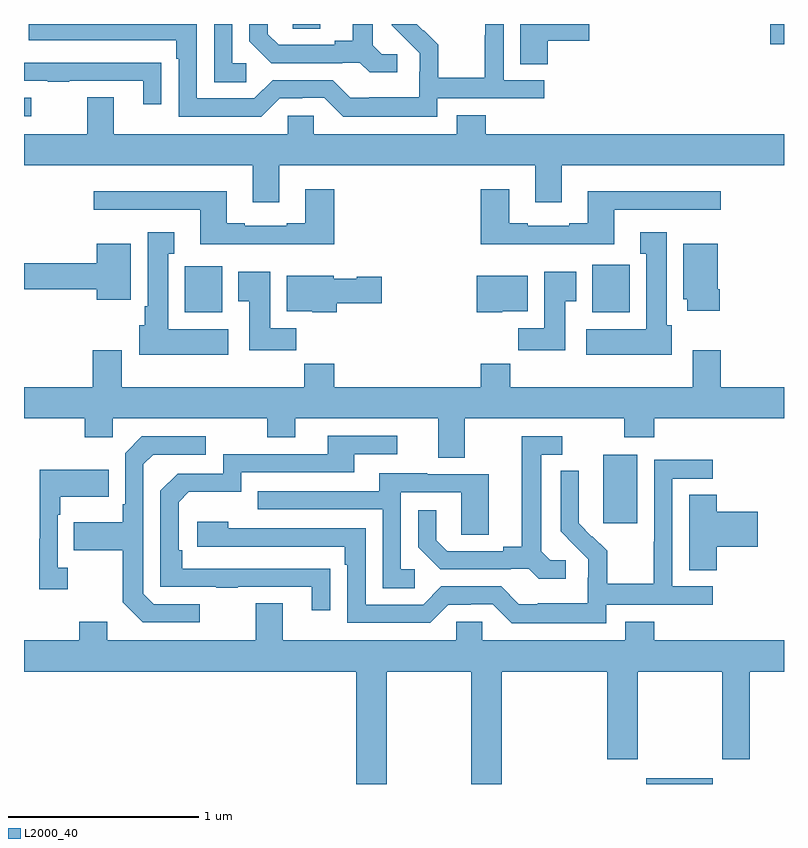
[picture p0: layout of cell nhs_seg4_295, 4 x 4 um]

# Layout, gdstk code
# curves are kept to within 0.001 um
import gdstk
lib = gdstk.Library(unit=1e-6, precision=1e-09)
def R(c, l, rs):  # rectangles x0, y0, x1, y1
    for r in rs: c.add(gdstk.rectangle(r[:2], r[2:], *l))
def P(c, l, *ps):  # polygons
    for p in ps: c.add(gdstk.Polygon(p, *l))
L2000_40 = (2000, 40)

nhs_seg4_295 = lib.new_cell('nhs_seg4_295')
R(nhs_seg4_295, L2000_40, [(128.276,790.9,128.626,790.93), (128.048,792.273,128.227,792.634), (125.846,793.382,126.043,793.624), (127.991,793.382,128.187,793.633), (125,794.415,125.038,794.511), (128.928,794.794,129,794.9), (126.414,794.875,126.559,794.9)])
P(nhs_seg4_295, L2000_40, [(127.176,794.508),(127.738,794.508),(127.738,794.604),(127.524,794.604),(127.524,794.9),(127.428,794.9),(127.428,794.84),(127.426,794.84),(127.426,794.617),(127.181,794.617),(127.181,794.791),(127.104,794.868),(127.101,794.865),(127.066,794.9),(126.936,794.9),(126.936,794.894),(127.082,794.746),(127.082,794.649),(127.08,794.649),(127.08,794.515),(126.817,794.515),(126.817,794.511),(126.717,794.511),(126.624,794.604),(126.309,794.604),(126.213,794.508),(125.91,794.508),(125.91,794.9),(125.025,794.9),(125.025,794.814),(125.801,794.814),(125.801,794.717),(125.814,794.717),(125.814,794.412),(126.249,794.412),(126.345,794.508),(126.464,794.508),(126.464,794.511),(126.579,794.511),(126.679,794.411),(127.176,794.411)],
  [(127.757,794.813),(127.975,794.813),(127.975,794.9),(127.613,794.9),(127.613,794.689),(127.757,794.689)],
  [(126.964,794.742),(126.882,794.742),(126.835,794.789),(126.835,794.9),(126.731,794.9),(126.731,794.813),(126.635,794.813),(126.635,794.79),(126.34,794.79),(126.283,794.847),(126.283,794.9),(126.186,794.9),(126.186,794.81),(126.302,794.694),(126.674,794.694),(126.674,794.697),(126.768,794.697),(126.82,794.645),(126.964,794.645)],
  [(126.169,794.694),(126.096,794.694),(126.096,794.9),(126,794.9),(126,794.593),(126.169,794.593)],
  [(125.723,794.696),(125.621,794.696),(125.621,794.697),(125,794.697),(125,794.601),(125.125,794.601),(125.125,794.596),(125.237,794.596),(125.237,794.601),(125.627,794.601),(125.627,794.478),(125.723,794.478)],
  [(126.343,794.156),(127.691,794.156),(127.691,793.962),(127.831,793.962),(127.831,794.156),(129,794.156),(129,794.32),(127.43,794.32),(127.43,794.419),(127.277,794.419),(127.277,794.32),(126.525,794.32),(126.525,794.418),(126.387,794.418),(126.387,794.32),(125.473,794.32),(125.473,794.515),(125.333,794.515),(125.333,794.32),(125,794.32),(125,794.156),(126.203,794.156),(126.203,793.962),(126.343,793.962)],
  [(128.107,793.923),(128.668,793.923),(128.668,794.02),(127.967,794.02),(127.967,793.852),(127.871,793.852),(127.871,793.839),(127.651,793.839),(127.651,793.852),(127.555,793.852),(127.555,794.029),(127.403,794.029),(127.403,793.742),(128.107,793.742)],
  [(126.632,794.029),(126.479,794.029),(126.479,793.852),(126.383,793.852),(126.383,793.839),(126.163,793.839),(126.163,793.852),(126.067,793.852),(126.067,794.02),(125.367,794.02),(125.367,793.923),(125.927,793.923),(125.927,793.742),(126.632,793.742)],
  [(128.41,793.314),(128.383,793.314),(128.383,793.804),(128.243,793.804),(128.243,793.691),(128.276,793.691),(128.276,793.294),(127.959,793.294),(127.959,793.16),(128.41,793.16)],
  [(126.076,793.294),(125.758,793.294),(125.758,793.691),(125.791,793.691),(125.791,793.804),(125.651,793.804),(125.651,793.414),(125.636,793.414),(125.636,793.314),(125.606,793.314),(125.606,793.16),(126.076,793.16)],
  [(125.563,793.744),(125.384,793.744),(125.384,793.64),(125,793.64),(125,793.504),(125.384,793.504),(125.384,793.448),(125.563,793.448)],
  [(128.663,793.504),(128.65,793.504),(128.65,793.744),(128.471,793.744),(128.471,793.452),(128.492,793.452),(128.492,793.392),(128.663,793.392)],
  [(127.849,793.441),(127.906,793.441),(127.906,793.597),(127.739,793.597),(127.739,793.3),(127.6,793.3),(127.6,793.182),(127.849,793.182)],
  [(126.434,793.3),(126.295,793.3),(126.295,793.597),(126.128,793.597),(126.128,793.441),(126.185,793.441),(126.185,793.182),(126.434,793.182)],
  [(127.518,793.388),(127.651,793.388),(127.651,793.576),(127.382,793.576),(127.382,793.382),(127.518,793.382)],
  [(126.647,793.429),(126.883,793.429),(126.883,793.571),(126.75,793.571),(126.75,793.558),(126.63,793.558),(126.63,793.576),(126.383,793.576),(126.383,793.388),(126.516,793.388),(126.516,793.382),(126.647,793.382)],
  [(127.321,792.824),(128.158,792.824),(128.158,792.725),(128.318,792.725),(128.318,792.824),(129,792.824),(129,792.988),(128.667,792.988),(128.667,793.183),(128.519,793.183),(128.519,792.988),(127.559,792.988),(127.559,793.112),(127.403,793.112),(127.403,792.988),(126.632,792.988),(126.632,793.112),(126.475,793.112),(126.475,792.988),(125.515,792.988),(125.515,793.183),(125.363,793.183),(125.363,792.988),(125,792.988),(125,792.824),(125.32,792.824),(125.32,792.725),(125.466,792.725),(125.466,792.824),(126.28,792.824),(126.28,792.725),(126.427,792.725),(126.427,792.824),(127.181,792.824),(127.181,792.616),(127.321,792.616)],
  [(126.611,792.032),(125.834,792.033),(125.834,792.13),(125.814,792.13),(125.814,792.384),(125.867,792.437),(126.144,792.437),(126.144,792.54),(126.739,792.54),(126.739,792.636),(126.964,792.636),(126.964,792.732),(126.599,792.732),(126.599,792.636),(126.048,792.636),(126.048,792.534),(125.808,792.534),(125.718,792.444),(125.718,791.937),(126.013,791.937),(126.013,791.932),(126.125,791.932),(126.125,791.937),(126.515,791.937),(126.515,791.814),(126.611,791.814)],
  [(127.852,792.078),(127.77,792.078),(127.723,792.125),(127.723,792.633),(127.834,792.633),(127.834,792.729),(127.619,792.729),(127.619,792.149),(127.523,792.149),(127.523,792.126),(127.228,792.126),(127.171,792.183),(127.171,792.34),(127.074,792.34),(127.074,792.146),(127.19,792.03),(127.562,792.03),(127.562,792.033),(127.656,792.033),(127.708,791.981),(127.852,791.981)],
  [(125.926,791.847),(125.682,791.847),(125.628,791.901),(125.628,792.582),(125.679,792.633),(125.956,792.633),(125.956,792.729),(125.619,792.729),(125.532,792.642),(125.532,792.373),(125.52,792.373),(125.52,792.277),(125.263,792.277),(125.263,792.13),(125.52,792.13),(125.52,791.857),(125.625,791.751),(125.926,791.751)],
  [(128.064,791.844),(128.626,791.844),(128.626,791.94),(128.412,791.94),(128.412,792.507),(128.626,792.507),(128.626,792.606),(128.316,792.606),(128.316,792.176),(128.314,792.176),(128.314,791.953),(128.069,791.953),(128.069,792.127),(127.992,792.204),(127.989,792.201),(127.919,792.272),(127.92,792.548),(127.824,792.548),(127.824,792.23),(127.97,792.082),(127.97,791.985),(127.968,791.985),(127.968,791.851),(127.705,791.851),(127.705,791.847),(127.605,791.847),(127.512,791.94),(127.197,791.94),(127.101,791.844),(126.798,791.844),(126.798,792.246),(126.074,792.246),(126.074,792.28),(125.913,792.28),(125.913,792.15),(126.689,792.15),(126.689,792.053),(126.702,792.053),(126.702,791.748),(127.137,791.748),(127.233,791.844),(127.352,791.844),(127.352,791.847),(127.467,791.847),(127.567,791.747),(128.064,791.747)],
  [(125.23,792.038),(125.178,792.038),(125.178,792.317),(125.191,792.317),(125.191,792.413),(125.447,792.413),(125.447,792.553),(125.082,792.553),(125.082,792.191),(125.081,792.191),(125.081,791.925),(125.23,791.925)],
  [(127.057,792.03),(126.984,792.03),(126.984,792.435),(127.302,792.435),(127.302,792.211),(127.447,792.211),(127.447,792.531),(127.123,792.531),(127.123,792.535),(126.869,792.535),(126.869,792.441),(126.229,792.441),(126.229,792.345),(126.888,792.345),(126.888,791.929),(127.057,791.929)],
  [(128.645,792.149),(128.863,792.149),(128.863,792.332),(128.645,792.332),(128.645,792.422),(128.501,792.422),(128.501,792.025),(128.645,792.025)],
  [(126.909,791.492),(127.354,791.492),(127.354,790.9),(127.514,790.9),(127.514,791.492),(128.069,791.492),(128.069,791.031),(128.229,791.031),(128.229,791.492),(128.674,791.492),(128.674,791.031),(128.821,791.031),(128.821,791.492),(129,791.492),(129,791.656),(128.318,791.656),(128.318,791.755),(128.165,791.755),(128.165,791.656),(127.413,791.656),(127.413,791.754),(127.275,791.754),(127.275,791.656),(126.361,791.656),(126.361,791.851),(126.221,791.851),(126.221,791.656),(125.437,791.656),(125.437,791.755),(125.29,791.755),(125.29,791.656),(125,791.656),(125,791.492),(126.749,791.492),(126.749,790.9),(126.909,790.9)])

lib.write_gds('nhs_seg4_295.gds')
